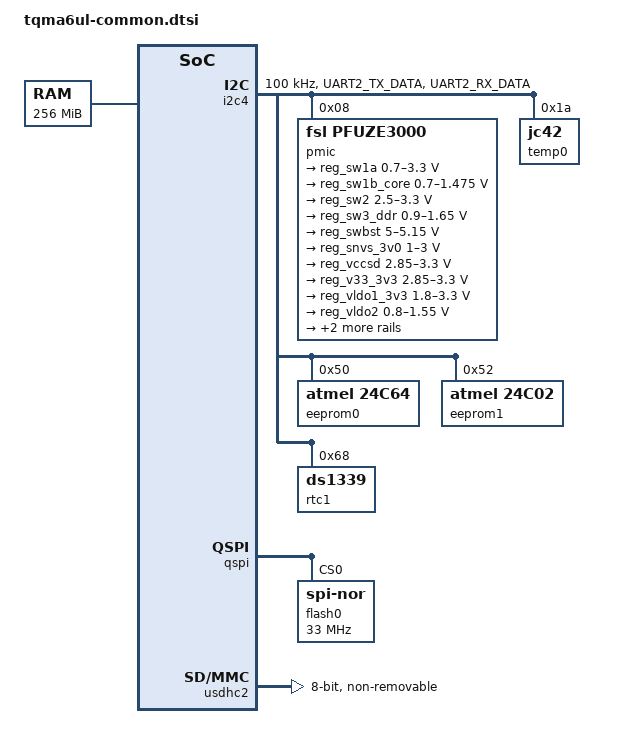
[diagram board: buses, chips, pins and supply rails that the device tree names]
/*
 * Copyright 2016 Marco Felsch, TQ Systems GmbH
 *
 * The code contained herein is licensed under the GNU General Public
 * License. You may obtain a copy of the GNU General Public License
 * Version 2 or later at the following locations:
 *
 * http://www.opensource.org/licenses/gpl-license.html
 * http://www.gnu.org/copyleft/gpl.html
 */

/ {
	memory {
		reg = <0x80000000 0x10000000>;
	};
};

&cpu0 {
	arm-supply = <&reg_arm>;
	soc-supply = <&reg_soc>;
	fsl,arm-soc-shared = <0>;
};

&gpc {
	fsl,ldo-bypass = <0>;
};

&i2c4 {
	clock-frequency = <100000>;
	pinctrl-names = "default";
	pinctrl-0 = <&pinctrl_i2c4>;
	status = "okay";

	pmic: pfuze3000@08 {
		compatible = "fsl,pfuze3000";
		reg = <0x08>;

		regulators {
			reg_sw1a: sw1a {
				regulator-min-microvolt = <700000>;
				regulator-max-microvolt = <3300000>;
				regulator-boot-on;
				regulator-ramp-delay = <6250>;
				/* not used */
			};

			reg_sw1b_core: sw1b {
				regulator-min-microvolt = <700000>;
				regulator-max-microvolt = <1475000>;
				regulator-boot-on;
				regulator-always-on;
				regulator-ramp-delay = <6250>;
			};

			reg_sw2: sw2 {
				regulator-min-microvolt = <2500000>;
				regulator-max-microvolt = <3300000>;
				regulator-boot-on;
			};

			reg_sw3_ddr: sw3 {
				regulator-min-microvolt = <900000>;
				regulator-max-microvolt = <1650000>;
				regulator-boot-on;
				regulator-always-on;
			};

			reg_swbst: swbst {
				regulator-min-microvolt = <5000000>;
				regulator-max-microvolt = <5150000>;
				/* not used */
			};

			reg_snvs_3v0: vsnvs {
				regulator-min-microvolt = <1000000>;
				regulator-max-microvolt = <3000000>;
				regulator-boot-on;
				regulator-always-on;
			};

			reg_vrefddr: vrefddr {
				regulator-boot-on;
				regulator-always-on;
			};

			reg_vccsd: vccsd {
				regulator-min-microvolt = <2850000>;
				regulator-max-microvolt = <3300000>;
			};

			reg_v33_3v3: v33 {
				regulator-min-microvolt = <2850000>;
				regulator-max-microvolt = <3300000>;
				regulator-always-on;
			};

			reg_vldo1_3v3: vldo1 {
				regulator-min-microvolt = <1800000>;
				regulator-max-microvolt = <3300000>;
				regulator-boot-on;
				/* not used */
			};

			reg_vldo2: vldo2 {
				regulator-min-microvolt = <800000>;
				regulator-max-microvolt = <1550000>;
				regulator-boot-on;
				/* not used */
			};

			reg_vldo3: vldo3 {
				regulator-min-microvolt = <1800000>;
				regulator-max-microvolt = <3300000>;
				regulator-boot-on;
				/* not used */
			};

			reg_vldo4: vldo4 {
				regulator-min-microvolt = <1800000>;
				regulator-max-microvolt = <1800000>;
				regulator-fixed;
				regulator-always-on;
			};
		};
	};

	/*
	 * NXP SE97BTP with temperature sensor + eeprom
	 * ATTENTION: do not use correct dt compatible since this will conflict
	 * with hwmon sysfs ABI and break device registration
	 */
	temp0: jc42@1a {
		compatible = "jc42";
		reg = <0x1a>;
		status = "okay";
	};

	eeprom0: 24c64@50 {
		compatible = "atmel,24c64";
		reg = <0x50>;
		pagesize = <32>;
		status = "okay";
	};

	eeprom1: 24c02@52 {
		compatible = "atmel,24c02";
		reg = <0x52>;
		pagesize = <16>;
		status = "okay";
	};

	rtc1: ds1339@68 {
		compatible = "ds1339";
		reg = <0x68>;
		status = "okay";
	};
};

&iomuxc {
	imx6ul-tqma6ul {
		pinctrl_i2c4: i2c4grp {
			fsl,pins = <
				MX6UL_PAD_UART2_TX_DATA__I2C4_SCL	0x4001b8b0
				MX6UL_PAD_UART2_RX_DATA__I2C4_SDA	0x4001b8b0
			>;
		};

		/*
		 * currently not used, potentially dangerous if used on
		 * baseboard
		 */
		pinctrl_pmic: pmic {
			fsl,pins = <
				/* PMIC irq */
				MX6UL_PAD_CSI_DATA03__GPIO4_IO24	0x1b099
			>;
		};
	};
};

&qspi {
	pinctrl-names = "default";
	pinctrl-0 = <&pinctrl_qspi>;
	fsl,qspi-no-dtr-modes;
	status = "okay";

	flash0: spinor@0 {
		#address-cells = <1>;
		#size-cells = <1>;
		compatible = "jedec,spi-nor";
		spi-max-frequency = <33000000>;
		reg = <0>;
	};
};

&snvs_rtc {
	status = "disabled";
};

/* eMMC */
&usdhc2 {
	pinctrl-names = "default", "state_100mhz" , "state_200mhz";
	pinctrl-0 = <&pinctrl_usdhc2>;
	pinctrl-1 = <&pinctrl_usdhc2_100mhz>;
	pinctrl-2 = <&pinctrl_usdhc2_200mhz>;

	bus-width = <8>;
	disable-wp;
	non-removable;
	status = "okay";
};
